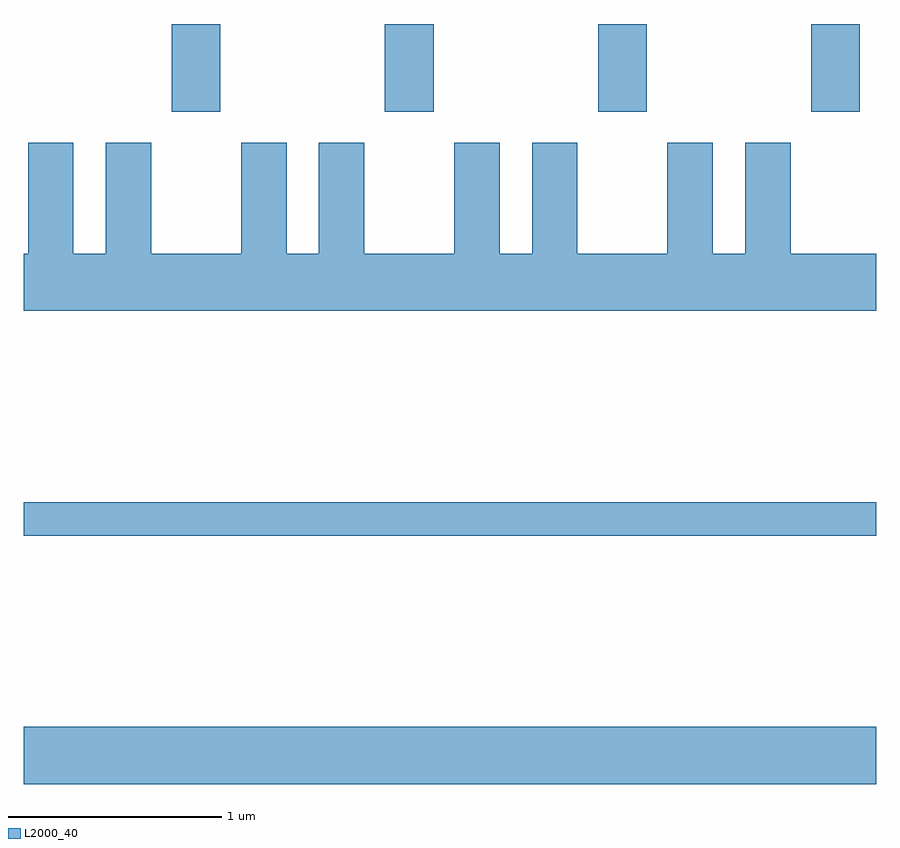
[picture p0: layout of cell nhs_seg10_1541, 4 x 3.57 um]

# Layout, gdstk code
import gdstk
lib = gdstk.Library(unit=1e-6, precision=1e-09)
def R(c, l, rs):  # rectangles x0, y0, x1, y1
    for r in rs: c.add(gdstk.rectangle(r[:2], r[2:], *l))
def A(c, l, x, y, w, h, nx, ny, dx, dy):  # array of equal rectangles
    R(c, l, [(x+i*dx, y+j*dy, x+i*dx+w, y+j*dy+h) for i in range(nx) for j in range(ny)])
def P(c, l, *ps):  # polygons
    for p in ps: c.add(gdstk.Polygon(p, *l))
L2000_40 = (2000, 40)

nhs_seg10_1541 = lib.new_cell('nhs_seg10_1541')
A(nhs_seg10_1541, L2000_40, 230.306, 2188.111, 0.228, 0.411, 4, 1, 1, 0)
R(nhs_seg10_1541, L2000_40, [(229.611,2184.956,233.611,2185.224), (229.611,2186.121,233.611,2186.279)])
P(nhs_seg10_1541, L2000_40, [(233.611,2187.444),(233.209,2187.444),(233.209,2187.964),(232.996,2187.964),(232.996,2187.444),(232.844,2187.444),(232.844,2187.964),(232.631,2187.964),(232.631,2187.444),(232.209,2187.444),(232.209,2187.964),(231.996,2187.964),(231.996,2187.444),(231.844,2187.444),(231.844,2187.964),(231.631,2187.964),(231.631,2187.444),(231.209,2187.444),(231.209,2187.964),(230.996,2187.964),(230.996,2187.444),(230.844,2187.444),(230.844,2187.964),(230.631,2187.964),(230.631,2187.444),(230.209,2187.444),(230.209,2187.964),(229.996,2187.964),(229.996,2187.444),(229.844,2187.444),(229.844,2187.964),(229.631,2187.964),(229.631,2187.444),(229.611,2187.444),(229.611,2187.176),(233.611,2187.176)])

lib.write_gds('nhs_seg10_1541.gds')
